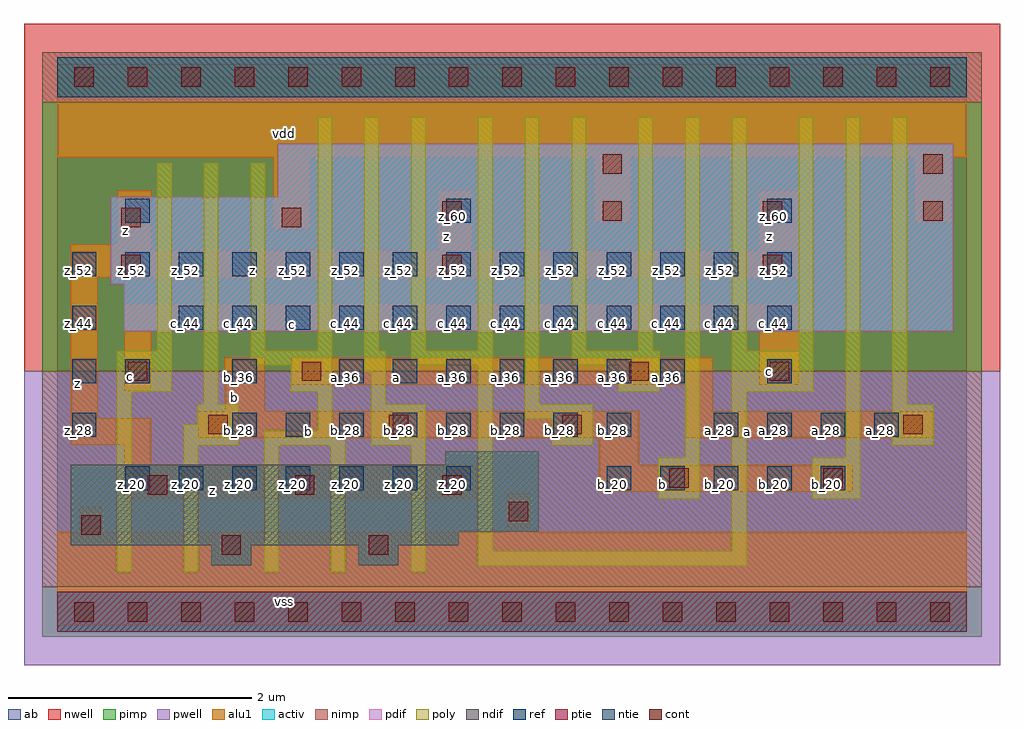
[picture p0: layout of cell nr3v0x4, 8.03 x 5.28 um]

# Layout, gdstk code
import gdstk
lib = gdstk.Library(unit=1e-6, precision=2.5e-09)
def R(c, l, rs):  # rectangles x0, y0, x1, y1
    for r in rs: c.add(gdstk.rectangle(r[:2], r[2:], *l))
def A(c, l, x, y, w, h, nx, ny, dx, dy):  # array of equal rectangles
    R(c, l, [(x+i*dx, y+j*dy, x+i*dx+w, y+j*dy+h) for i in range(nx) for j in range(ny)])
ndif = (3, 0)
pdif = (4, 0)
ntie = (5, 0)
ptie = (6, 0)
ref = (24, 0)
cont = (25, 0)
pwell = (41, 0)
nwell = (42, 0)
activ = (43, 0)
pimp = (44, 0)
nimp = (45, 0)
poly = (46, 0)
alu1 = (49, 0)
ab = (63, 0)

nr3v0x4 = lib.new_cell('nr3v0x4')
R(nr3v0x4, ndif, [(1.265,0.385,1.595,0.55), (2.475,0.385,2.805,0.55), (0.11,0.55,3.3,0.66), (0.11,0.66,3.96,1.21), (3.19,1.21,3.96,1.32)])
R(nr3v0x4, pdif, [(0.55,2.31,7.37,2.695), (0.44,2.695,7.37,3.41), (1.815,3.41,7.37,3.85)])
R(nr3v0x4, ntie, [(0,4.235,7.48,4.565)])
R(nr3v0x4, ptie, [(0,-0.165,7.48,0.165)])
A(nr3v0x4, ref, 0.56, 1, 0.2, 0.2, 7, 1, 0.44, 0)
A(nr3v0x4, ref, 4.52, 1, 0.2, 0.2, 5, 1, 0.44, 0)
A(nr3v0x4, ref, 0.12, 1.44, 0.2, 0.2, 1, 3, 0, 0.44)
A(nr3v0x4, ref, 1.44, 1.44, 0.2, 0.2, 8, 1, 0.44, 0)
A(nr3v0x4, ref, 5.4, 1.44, 0.2, 0.2, 4, 1, 0.44, 0)
A(nr3v0x4, ref, 0.56, 1.88, 0.2, 0.2, 3, 1, 0.88, 0)
A(nr3v0x4, ref, 2.76, 1.88, 0.2, 0.2, 6, 1, 0.44, 0)
A(nr3v0x4, ref, 1, 2.32, 0.2, 0.2, 12, 1, 0.44, 0)
A(nr3v0x4, ref, 0.12, 2.76, 0.2, 0.2, 14, 1, 0.44, 0)
A(nr3v0x4, ref, 0.56, 3.2, 0.2, 0.2, 3, 1, 2.64, 0)
R(nr3v0x4, ref, [(5.84,1.88,6.04,2.08)])
A(nr3v0x4, cont, 0.14, -0.08, 0.16, 0.16, 17, 2, 0.44, 4.4)
A(nr3v0x4, cont, 0.745, 0.965, 0.16, 0.16, 3, 1, 1.21, 0)
A(nr3v0x4, cont, 0.525, 2.78, 0.16, 0.16, 3, 1, 2.64, 0)
A(nr3v0x4, cont, 3.165, 3.22, 0.16, 0.16, 4, 1, 1.32, 0)
R(nr3v0x4, cont, [(1.35,0.47,1.51,0.63), (2.56,0.47,2.72,0.63), (0.195,0.635,0.355,0.795), (3.715,0.745,3.875,0.905), (5.035,1.02,5.195,1.18), (6.3,1.02,6.46,1.18), (1.24,1.46,1.4,1.62), (2.725,1.46,2.885,1.62), (4.155,1.46,4.315,1.62), (6.96,1.46,7.12,1.62), (0.58,1.9,0.74,2.06), (2.01,1.9,2.17,2.06), (4.705,1.9,4.865,2.06), (5.86,1.9,6.02,2.06), (0.525,3.165,0.685,3.325), (1.845,3.165,2.005,3.325), (4.485,3.605,4.645,3.765), (7.125,3.605,7.285,3.765)])
R(nr3v0x4, pwell, [(-0.275,-0.44,7.755,1.98)])
R(nr3v0x4, nwell, [(-0.275,1.98,7.755,4.84)])
R(nr3v0x4, activ, [(0,-0.165,7.48,0.165), (1.265,0.385,1.595,0.55), (2.475,0.385,2.805,0.55), (0.11,0.55,3.3,0.66), (0.11,0.66,3.96,1.21), (3.19,1.21,3.96,1.32), (0.55,2.31,7.37,2.695), (0.44,2.695,7.37,3.41), (1.815,3.41,7.37,3.85), (0,4.235,7.48,4.565)])
R(nr3v0x4, pimp, [(-0.125,-0.205,7.605,0.205), (-0.125,1.98,7.605,4.195)])
R(nr3v0x4, nimp, [(-0.125,0.205,7.605,1.98), (-0.125,4.195,7.605,4.605)])
A(nr3v0x4, poly, 2.14, 2.15, 0.12, 1.925, 3, 1, 0.385, 0)
R(nr3v0x4, poly, [(0.49,0.325,0.61,1.81), (1.04,0.325,1.16,1.37), (1.7,0.325,1.82,1.37), (2.25,0.325,2.37,1.37), (2.91,0.325,3.03,1.37), (3.46,0.38,5.67,0.5), (3.46,0.5,3.58,2.03), (5.55,0.5,5.67,1.81), (4.945,0.93,5.285,1.27), (6.21,0.93,6.605,1.27), (5.165,1.27,5.285,4.075), (6.485,1.27,6.605,4.075), (1.04,1.37,1.49,1.545), (1.7,1.37,2.37,1.49), (2.58,1.37,3.03,1.71), (4.065,1.37,4.405,1.59), (6.87,1.37,7.21,1.71), (2.14,1.49,2.26,1.81), (1.15,1.545,1.49,1.71), (3.845,1.59,4.405,1.71), (1.205,1.71,1.325,3.69), (2.58,1.71,2.7,1.975), (3.845,1.71,3.965,4.075), (6.87,1.71,6.99,4.075), (0.49,1.81,0.94,2.15), (1.92,1.81,2.26,2.03), (4.615,1.81,4.955,2.03), (5.55,1.81,6.22,2.15), (2.525,1.975,2.7,2.15), (1.59,2.03,2.26,2.15), (2.91,2.03,3.58,2.15), (4.23,2.03,4.955,2.15), (0.82,2.15,0.94,3.69), (1.59,2.15,1.71,3.69), (3.46,2.15,3.58,4.075), (4.23,2.15,4.35,4.075), (4.78,2.15,4.9,4.075), (5.55,2.15,5.67,4.075), (6.1,2.15,6.22,4.075)])
R(nr3v0x4, alu1, [(0,-0.11,7.48,0.66), (0.18,0.66,0.37,0.865), (3.7,0.66,3.89,0.975), (0.55,0.935,3.465,1.21), (4.455,0.99,6.545,1.21), (0.55,1.21,0.77,1.375), (4.455,1.21,4.785,1.43), (0.11,1.375,0.77,1.595), (1.155,1.43,4.785,1.65), (5.17,1.43,7.205,1.65), (0.11,1.595,0.33,2.75), (1.375,1.65,1.705,2.09), (5.17,1.65,5.39,1.87), (0.55,1.815,0.77,2.31), (1.925,1.87,5.39,2.09), (5.775,1.87,6.105,2.31), (0.55,2.31,6.105,2.53), (0.11,2.75,6.105,2.97), (0.11,2.97,0.77,3.025), (3.135,2.97,3.41,3.465), (5.775,2.97,6.105,3.465), (0.495,3.025,0.77,3.465), (1.775,3.15,2.075,3.74), (4.415,3.205,4.715,3.74), (7.055,3.205,7.355,3.74), (0,3.74,7.48,4.51)])
R(nr3v0x4, ab, [(0,0,7.48,4.4)])
nr3v0x4.add(gdstk.Label('vss', (1.87,0.0825), layer=49, texttype=0))
nr3v0x4.add(gdstk.Label('b', (4.9775,1.045), layer=49, texttype=0))
nr3v0x4.add(gdstk.Label('z', (1.2775,1.0025), layer=49, texttype=0))
nr3v0x4.add(gdstk.Label('a', (5.6775,1.485), layer=49, texttype=0))
nr3v0x4.add(gdstk.Label('b', (2.0625,1.485), layer=49, texttype=0))
nr3v0x4.add(gdstk.Label('c', (5.8575,1.98), layer=49, texttype=0))
nr3v0x4.add(gdstk.Label('a', (2.79,1.925), layer=49, texttype=0))
nr3v0x4.add(gdstk.Label('b', (1.4575,1.76), layer=49, texttype=0))
nr3v0x4.add(gdstk.Label('c', (0.605,1.9375), layer=49, texttype=0))
nr3v0x4.add(gdstk.Label('c', (1.9375,2.365), layer=49, texttype=0))
nr3v0x4.add(gdstk.Label('z', (0.165,1.8825), layer=49, texttype=0))
nr3v0x4.add(gdstk.Label('z', (1.6075,2.805), layer=49, texttype=0))
nr3v0x4.add(gdstk.Label('z', (5.8575,3.0925), layer=49, texttype=0))
nr3v0x4.add(gdstk.Label('z', (3.2025,3.0925), layer=49, texttype=0))
nr3v0x4.add(gdstk.Label('z', (0.5625,3.135), layer=49, texttype=0))
nr3v0x4.add(gdstk.Label('vdd', (1.87,3.9325), layer=49, texttype=0))
nr3v0x4.add(gdstk.Label('b_20', (5.45,1.05), layer=24, texttype=0))
nr3v0x4.add(gdstk.Label('a_28', (5.45,1.49), layer=24, texttype=0))
nr3v0x4.add(gdstk.Label('c_44', (5.45,2.37), layer=24, texttype=0))
nr3v0x4.add(gdstk.Label('z_52', (5.45,2.81), layer=24, texttype=0))
nr3v0x4.add(gdstk.Label('b_20', (5.89,1.05), layer=24, texttype=0))
nr3v0x4.add(gdstk.Label('a_28', (5.89,1.49), layer=24, texttype=0))
nr3v0x4.add(gdstk.Label('c_36', (5.89,1.93), layer=24, texttype=0))
nr3v0x4.add(gdstk.Label('c_44', (5.89,2.37), layer=24, texttype=0))
nr3v0x4.add(gdstk.Label('z_52', (5.89,2.81), layer=24, texttype=0))
nr3v0x4.add(gdstk.Label('z_60', (5.89,3.25), layer=24, texttype=0))
nr3v0x4.add(gdstk.Label('b_20', (6.33,1.05), layer=24, texttype=0))
nr3v0x4.add(gdstk.Label('a_28', (6.33,1.49), layer=24, texttype=0))
nr3v0x4.add(gdstk.Label('z_20', (0.61,1.05), layer=24, texttype=0))
nr3v0x4.add(gdstk.Label('c_36', (0.61,1.93), layer=24, texttype=0))
nr3v0x4.add(gdstk.Label('z_52', (0.61,2.81), layer=24, texttype=0))
nr3v0x4.add(gdstk.Label('z_60', (0.61,3.25), layer=24, texttype=0))
nr3v0x4.add(gdstk.Label('a_28', (6.77,1.49), layer=24, texttype=0))
nr3v0x4.add(gdstk.Label('z_20', (1.05,1.05), layer=24, texttype=0))
nr3v0x4.add(gdstk.Label('c_44', (1.05,2.37), layer=24, texttype=0))
nr3v0x4.add(gdstk.Label('z_52', (1.05,2.81), layer=24, texttype=0))
nr3v0x4.add(gdstk.Label('z_20', (1.49,1.05), layer=24, texttype=0))
nr3v0x4.add(gdstk.Label('b_28', (1.49,1.49), layer=24, texttype=0))
nr3v0x4.add(gdstk.Label('b_36', (1.49,1.93), layer=24, texttype=0))
nr3v0x4.add(gdstk.Label('c_44', (1.49,2.37), layer=24, texttype=0))
nr3v0x4.add(gdstk.Label('z_52', (1.49,2.81), layer=24, texttype=0))
nr3v0x4.add(gdstk.Label('z_20', (1.93,1.05), layer=24, texttype=0))
nr3v0x4.add(gdstk.Label('b_28', (1.93,1.49), layer=24, texttype=0))
nr3v0x4.add(gdstk.Label('c_44', (1.93,2.37), layer=24, texttype=0))
nr3v0x4.add(gdstk.Label('z_52', (1.93,2.81), layer=24, texttype=0))
nr3v0x4.add(gdstk.Label('z_28', (0.17,1.49), layer=24, texttype=0))
nr3v0x4.add(gdstk.Label('z_36', (0.17,1.93), layer=24, texttype=0))
nr3v0x4.add(gdstk.Label('z_44', (0.17,2.37), layer=24, texttype=0))
nr3v0x4.add(gdstk.Label('z_52', (0.17,2.81), layer=24, texttype=0))
nr3v0x4.add(gdstk.Label('z_20', (2.37,1.05), layer=24, texttype=0))
nr3v0x4.add(gdstk.Label('b_28', (2.37,1.49), layer=24, texttype=0))
nr3v0x4.add(gdstk.Label('a_36', (2.37,1.93), layer=24, texttype=0))
nr3v0x4.add(gdstk.Label('c_44', (2.37,2.37), layer=24, texttype=0))
nr3v0x4.add(gdstk.Label('z_52', (2.37,2.81), layer=24, texttype=0))
nr3v0x4.add(gdstk.Label('z_20', (2.81,1.05), layer=24, texttype=0))
nr3v0x4.add(gdstk.Label('b_28', (2.81,1.49), layer=24, texttype=0))
nr3v0x4.add(gdstk.Label('a_36', (2.81,1.93), layer=24, texttype=0))
nr3v0x4.add(gdstk.Label('c_44', (2.81,2.37), layer=24, texttype=0))
nr3v0x4.add(gdstk.Label('z_52', (2.81,2.81), layer=24, texttype=0))
nr3v0x4.add(gdstk.Label('z_20', (3.25,1.05), layer=24, texttype=0))
nr3v0x4.add(gdstk.Label('b_28', (3.25,1.49), layer=24, texttype=0))
nr3v0x4.add(gdstk.Label('a_36', (3.25,1.93), layer=24, texttype=0))
nr3v0x4.add(gdstk.Label('c_44', (3.25,2.37), layer=24, texttype=0))
nr3v0x4.add(gdstk.Label('z_52', (3.25,2.81), layer=24, texttype=0))
nr3v0x4.add(gdstk.Label('z_60', (3.25,3.25), layer=24, texttype=0))
nr3v0x4.add(gdstk.Label('b_28', (3.69,1.49), layer=24, texttype=0))
nr3v0x4.add(gdstk.Label('a_36', (3.69,1.93), layer=24, texttype=0))
nr3v0x4.add(gdstk.Label('c_44', (3.69,2.37), layer=24, texttype=0))
nr3v0x4.add(gdstk.Label('z_52', (3.69,2.81), layer=24, texttype=0))
nr3v0x4.add(gdstk.Label('b_28', (4.13,1.49), layer=24, texttype=0))
nr3v0x4.add(gdstk.Label('a_36', (4.13,1.93), layer=24, texttype=0))
nr3v0x4.add(gdstk.Label('c_44', (4.13,2.37), layer=24, texttype=0))
nr3v0x4.add(gdstk.Label('z_52', (4.13,2.81), layer=24, texttype=0))
nr3v0x4.add(gdstk.Label('b_20', (4.57,1.05), layer=24, texttype=0))
nr3v0x4.add(gdstk.Label('b_28', (4.57,1.49), layer=24, texttype=0))
nr3v0x4.add(gdstk.Label('a_36', (4.57,1.93), layer=24, texttype=0))
nr3v0x4.add(gdstk.Label('c_44', (4.57,2.37), layer=24, texttype=0))
nr3v0x4.add(gdstk.Label('z_52', (4.57,2.81), layer=24, texttype=0))
nr3v0x4.add(gdstk.Label('b_20', (5.01,1.05), layer=24, texttype=0))
nr3v0x4.add(gdstk.Label('a_36', (5.01,1.93), layer=24, texttype=0))
nr3v0x4.add(gdstk.Label('c_44', (5.01,2.37), layer=24, texttype=0))
nr3v0x4.add(gdstk.Label('z_52', (5.01,2.81), layer=24, texttype=0))

lib.write_gds('nr3v0x4.gds')
